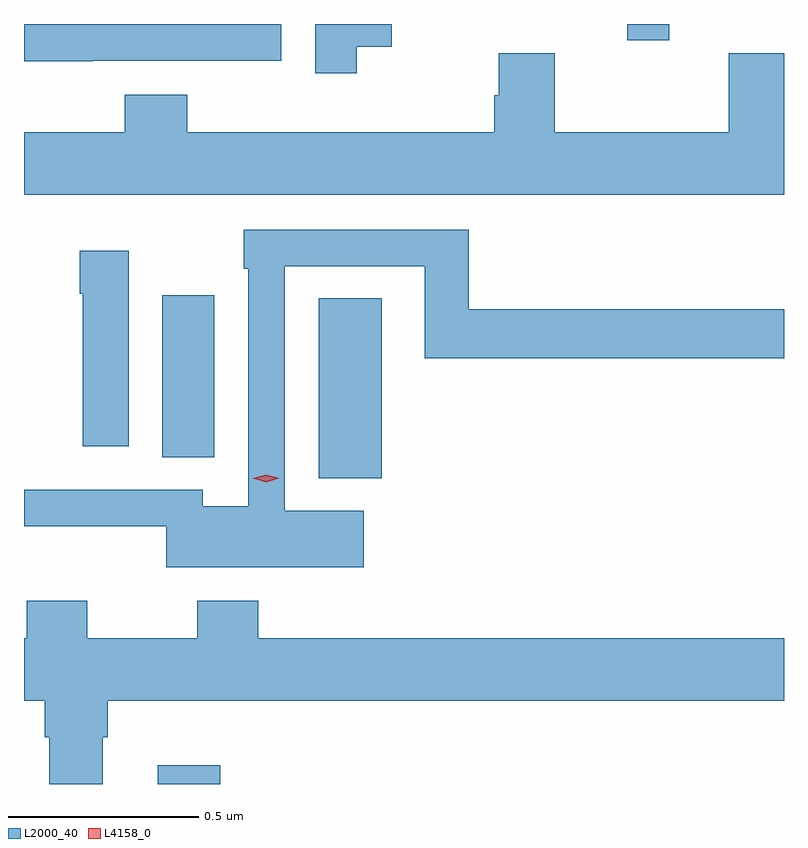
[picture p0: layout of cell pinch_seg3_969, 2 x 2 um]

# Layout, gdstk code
import gdstk
lib = gdstk.Library(unit=1e-6, precision=1e-09)
def R(c, l, rs):  # rectangles x0, y0, x1, y1
    for r in rs: c.add(gdstk.rectangle(r[:2], r[2:], *l))
def P(c, l, *ps):  # polygons
    for p in ps: c.add(gdstk.Polygon(p, *l))
L2000_40 = (2000, 40)
L4158_0 = (4158, 0)

pinch_seg3_969 = lib.new_cell('pinch_seg3_969')
R(pinch_seg3_969, L2000_40, [(419.306,723.341,419.47,723.391), (419.729,724.145,419.896,724.619), (419.318,724.201,419.455,724.627), (420.541,725.298,420.652,725.341)])
P(pinch_seg3_969, L2000_40, [(419.135,725.244),(419.631,725.244),(419.631,725.341),(419.535,725.341),(419.535,725.34),(418.954,725.34),(418.954,725.243),(419.135,725.243)],
  [(419.83,725.281),(419.922,725.281),(419.922,725.341),(419.721,725.341),(419.721,725.211),(419.83,725.211)],
  [(420.954,725.264),(420.808,725.264),(420.808,725.056),(420.351,725.056),(420.351,725.264),(420.203,725.264),(420.203,725.154),(420.191,725.154),(420.191,725.056),(419.384,725.056),(419.384,725.155),(419.219,725.155),(419.219,725.056),(418.954,725.056),(418.954,724.892),(420.954,724.892)],
  [(419.848,724.06),(419.64,724.06),(419.64,724.704),(420.009,724.704),(420.009,724.462),(420.954,724.462),(420.954,724.591),(420.125,724.591),(420.125,724.8),(419.532,724.8),(419.532,724.697),(419.544,724.697),(419.544,724.072),(419.424,724.072),(419.424,724.116),(418.954,724.116),(418.954,724.019),(419.328,724.019),(419.328,723.911),(419.848,723.911)],
  [(419.23,724.744),(419.101,724.744),(419.101,724.631),(419.108,724.631),(419.108,724.23),(419.23,724.23)],
  [(419.161,723.464),(419.174,723.464),(419.174,723.56),(420.954,723.56),(420.954,723.724),(419.57,723.724),(419.57,723.823),(419.41,723.823),(419.41,723.724),(419.121,723.724),(419.121,723.823),(418.961,723.823),(418.961,723.724),(418.954,723.724),(418.954,723.56),(419.009,723.56),(419.009,723.464),(419.021,723.464),(419.021,723.341),(419.161,723.341)])
P(pinch_seg3_969, L4158_0, [(419.591,724.135),(419.556,724.145),(419.556,724.145),(419.556,724.146),(419.591,724.155),(419.626,724.146),(419.626,724.145),(419.626,724.145)])

lib.write_gds('pinch_seg3_969.gds')
